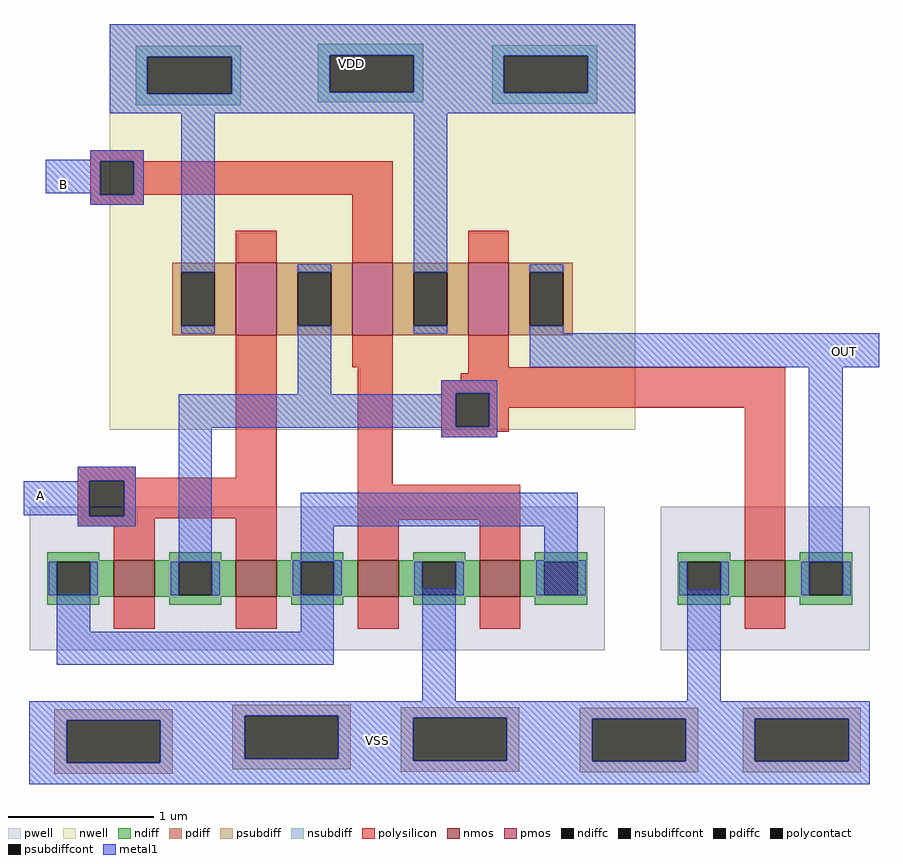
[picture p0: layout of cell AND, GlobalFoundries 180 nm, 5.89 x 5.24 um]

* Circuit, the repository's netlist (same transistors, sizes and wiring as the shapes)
* NGSPICE file created from AND.ext - technology: gf180mcuC

.subckt nmos_3p3_H9QVWA a_n120_n36# a_28_n25# a_n28_n69# VSUBS
X0 a_28_n25# a_n28_n69# a_n120_n36# VSUBS nfet_03v3 ad=0.155p pd=1.64u as=0.155p ps=1.64u w=0.25u l=0.28u
.ends

.subckt nmos_3p3_49QVWA a_n204_n36# a_56_n69# a_112_n25# a_n112_n69# a_n56_n25# VSUBS
X0 a_n56_n25# a_n112_n69# a_n204_n36# VSUBS nfet_03v3 ad=89.8f pd=0.92u as=0.155p ps=1.64u w=0.25u l=0.28u
X1 a_112_n25# a_56_n69# a_n56_n25# VSUBS nfet_03v3 ad=0.155p pd=1.64u as=89.8f ps=0.92u w=0.25u l=0.28u
.ends

.subckt pmos_3p3_M8RWPS a_n28_n94# w_n202_n180# a_n116_n50# a_28_n50#
X0 a_28_n50# a_n28_n94# a_n116_n50# w_n202_n180# pfet_03v3 ad=0.22p pd=1.88u as=0.22p ps=1.88u w=0.5u l=0.28u
.ends

.subckt AND A B OUT VDD VSS
Xnmos_3p3_H9QVWA_0 VSS OUT a_571_376# VSS nmos_3p3_H9QVWA
Xnmos_3p3_49QVWA_0 m1_41_62# B m1_41_62# B VSS VSS nmos_3p3_49QVWA
Xnmos_3p3_49QVWA_1 m1_41_62# A m1_41_62# A a_571_376# VSS nmos_3p3_49QVWA
Xpmos_3p3_M8RWPS_0 a_571_376# VDD VDD OUT pmos_3p3_M8RWPS
Xpmos_3p3_M8RWPS_1 A VDD VDD a_571_376# pmos_3p3_M8RWPS
Xpmos_3p3_M8RWPS_2 B VDD a_571_376# VDD pmos_3p3_M8RWPS
.ends

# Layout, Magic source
magic
tech gf180mcuC
magscale 1 10
<< nwell >>
rect 114 746 838 945
<< psubdiff >>
rect 38 -14 201 1
rect 38 -73 55 -14
rect 184 -73 201 -14
rect 38 -88 201 -73
rect 283 -8 446 7
rect 283 -67 300 -8
rect 429 -67 446 -8
rect 283 -82 446 -67
rect 515 -11 678 4
rect 515 -70 532 -11
rect 661 -70 678 -11
rect 515 -85 678 -70
rect 762 -12 925 3
rect 762 -71 779 -12
rect 908 -71 925 -12
rect 762 -86 925 -71
rect 986 -12 1149 3
rect 986 -71 1003 -12
rect 1132 -71 1149 -12
rect 986 -86 1149 -71
<< nsubdiff >>
rect 150 900 295 915
rect 150 849 166 900
rect 282 849 295 900
rect 150 833 295 849
rect 401 902 546 918
rect 401 851 417 902
rect 533 851 546 902
rect 401 837 546 851
rect 641 901 786 916
rect 641 850 657 901
rect 773 850 786 901
rect 641 835 786 850
<< psubdiffcont >>
rect 55 -73 184 -14
rect 300 -67 429 -8
rect 532 -70 661 -11
rect 779 -71 908 -12
rect 1003 -71 1132 -12
<< nsubdiffcont >>
rect 166 849 282 900
rect 417 851 533 902
rect 657 850 773 901
<< polysilicon >>
rect 87 756 161 771
rect 87 710 101 756
rect 147 710 504 756
rect 87 696 161 710
rect 448 648 504 710
rect 469 616 477 648
rect 608 472 664 477
rect 70 320 150 335
rect 288 320 344 472
rect 70 316 344 320
rect 70 267 86 316
rect 134 267 344 316
rect 70 264 344 267
rect 70 253 176 264
rect 120 250 176 253
rect 288 224 344 264
rect 456 310 504 472
rect 608 464 1045 472
rect 598 454 1045 464
rect 571 436 1045 454
rect 571 390 591 436
rect 637 416 1045 436
rect 637 390 664 416
rect 571 383 664 390
rect 571 376 648 383
rect 456 262 680 310
rect 456 249 512 262
rect 624 250 680 262
rect 989 250 1045 416
<< polycontact >>
rect 101 710 147 756
rect 86 267 134 316
rect 591 390 637 436
<< metal1 >>
rect 114 902 838 945
rect 114 900 417 902
rect 114 849 166 900
rect 282 851 417 900
rect 533 901 838 902
rect 533 851 657 901
rect 282 850 657 851
rect 773 850 838 901
rect 282 849 838 850
rect 114 822 838 849
rect 87 758 161 771
rect 26 756 161 758
rect 26 712 101 756
rect 87 710 101 712
rect 147 710 161 756
rect 87 696 161 710
rect 213 614 259 822
rect 533 604 579 822
rect 373 435 419 518
rect 693 472 1174 519
rect 571 436 648 454
rect 571 435 591 436
rect 209 390 591 435
rect 637 390 648 436
rect 209 389 648 390
rect 70 316 150 335
rect 70 315 86 316
rect -4 268 86 315
rect 70 267 86 268
rect 134 267 150 316
rect 70 253 150 267
rect 209 204 255 389
rect 571 376 648 389
rect 377 253 759 299
rect 377 206 423 253
rect 713 206 759 253
rect 366 204 434 206
rect 366 160 377 204
rect 423 160 434 204
rect 41 108 87 160
rect 377 108 423 159
rect 41 62 423 108
rect 545 12 591 168
rect 702 160 770 206
rect 1077 204 1124 472
rect 713 158 759 160
rect 910 12 956 166
rect 3 -8 1161 12
rect 3 -14 300 -8
rect 3 -73 55 -14
rect 184 -67 300 -14
rect 429 -11 1161 -8
rect 429 -67 532 -11
rect 184 -70 532 -67
rect 661 -12 1161 -11
rect 661 -70 779 -12
rect 184 -71 779 -70
rect 908 -71 1003 -12
rect 1132 -71 1161 -12
rect 184 -73 1161 -71
rect 3 -102 1161 -73
use nmos_3p3_49QVWA  nmos_3p3_49QVWA_0
transform -1 0 568 0 1 181
box -228 -99 228 99
use nmos_3p3_49QVWA  nmos_3p3_49QVWA_1
transform -1 0 232 0 1 181
box -228 -99 228 99
use nmos_3p3_H9QVWA  nmos_3p3_H9QVWA_0
transform 1 0 1017 0 1 181
box -144 -99 144 99
use pmos_3p3_M8RWPS  pmos_3p3_M8RWPS_0
transform 1 0 636 0 1 566
box -202 -180 202 180
use pmos_3p3_M8RWPS  pmos_3p3_M8RWPS_1
transform 1 0 316 0 1 566
box -202 -180 202 180
use pmos_3p3_M8RWPS  pmos_3p3_M8RWPS_2
transform 1 0 476 0 1 566
box -202 -180 202 180
<< labels >>
flabel metal1 19 296 19 296 0 FreeSans 800 0 0 0 A
port 1 nsew
flabel metal1 50 724 50 724 0 FreeSans 800 0 0 0 B
port 3 nsew
flabel metal1 1126 494 1126 494 0 FreeSans 320 0 0 0 OUT
port 9 nsew
flabel nsubdiffcont 447 891 447 891 0 FreeSans 320 0 0 0 VDD
port 10 nsew
flabel metal1 483 -42 483 -42 0 FreeSans 320 0 0 0 VSS
port 11 nsew
<< end >>

# cell nmos_3p3_49QVWA: kit device nmos_3p3, w 0.250 l 0.280 m 1 nf 2 diffcov 100 polycov 100 guard 0 glc 0 grc 0 gtc 0 gbc 0 tbcov 100 rlcov 100 topc 0 botc 0 poverlap 0 doverlap 1 lmin 0.28 wmin 0.22 full_metal 0 compatible {nmos_3p3 nmos_6p0 nmos_6p0_nat}

# cell nmos_3p3_H9QVWA: kit device nmos_3p3, w 0.250 l 0.280 m 1 nf 1 diffcov 100 polycov 100 guard 0 glc 0 grc 0 gtc 0 gbc 0 tbcov 100 rlcov 100 topc 0 botc 0 poverlap 0 doverlap 1 lmin 0.28 wmin 0.22 full_metal 0 compatible {nmos_3p3 nmos_6p0 nmos_6p0_nat}

# cell pmos_3p3_M8RWPS: kit device pmos_3p3, w 0.50 l 0.280 m 1 nf 1 diffcov 100 polycov 100 guard 0 glc 0 grc 0 gtc 0 gbc 0 tbcov 100 rlcov 100 topc 0 botc 0 poverlap 0 doverlap 1 lmin 0.28 wmin 0.22 full_metal 0 compatible {pmos_3p3 pmos_6p0}
